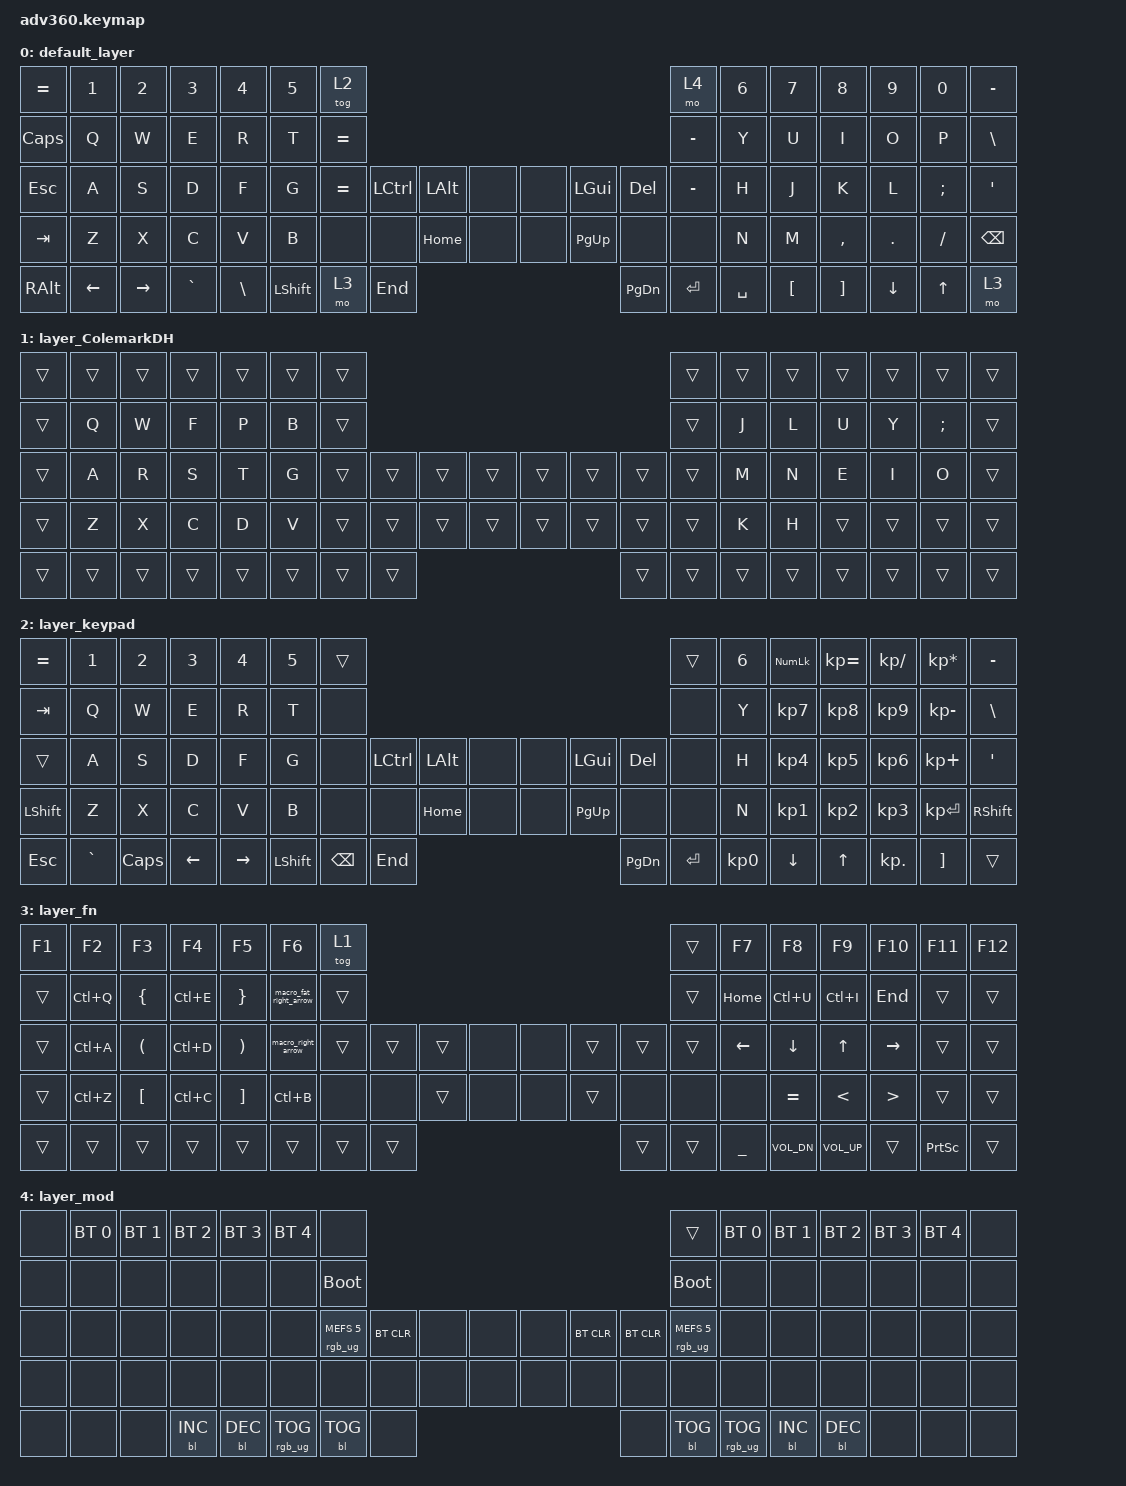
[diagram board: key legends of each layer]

/*
 * Copyright (c) 2020 The ZMK Contributors
 *
 * SPDX-License-Identifier: MIT
 */


/* THIS FILE WAS GENERATED!
 *
 * This file was generated automatically. You may or may not want to
 * edit it directly.
 */

#include <behaviors.dtsi>
#include <dt-bindings/zmk/keys.h>
#include <dt-bindings/zmk/bt.h>
#include <dt-bindings/zmk/rgb.h>
#include <dt-bindings/zmk/backlight.h>

/ {
  behaviors {
    #include "macros.dtsi"
    #include "version.dtsi"

    hm: homerow_mods {
        compatible = "zmk,behavior-hold-tap";
        label = "HOMEROW_MODS";
        #binding-cells = <2>;
        tapping-term-ms = <200>;
        quick_tap_ms = <175>;
        flavor = "tap-preferred";
        bindings = <&kp>, <&kp>;
    };
  };

    keymap {
        compatible = "zmk,keymap";


        default_layer {
            bindings = <
 &kp EQUAL    &kp N1     &kp N2     &kp N3    &kp N4  &kp N5               &tog 2                                                                 &mo 4  &kp N6    &kp N7     &kp N8    &kp N9    &kp N0  &kp MINUS
  &kp CAPS     &kp Q      &kp W      &kp E     &kp R   &kp T            &kp EQUAL                                                             &kp MINUS   &kp Y     &kp U      &kp I     &kp O     &kp P   &kp BSLH
   &kp ESC     &kp A      &kp S      &kp D     &kp F   &kp G            &kp EQUAL  &kp LCTRL  &kp LALT   &none   &none   &kp LGUI    &kp DEL  &kp MINUS   &kp H     &kp J      &kp K     &kp L  &kp SEMI    &kp SQT
   &kp TAB     &kp Z      &kp X      &kp C     &kp V   &kp B                &none      &none  &kp HOME   &none   &none  &kp PG_UP      &none      &none   &kp N     &kp M  &kp COMMA   &kp DOT  &kp FSLH   &kp BSPC
  &kp RALT  &kp LEFT  &kp RIGHT  &kp GRAVE  &kp BSLH                    &kp LSHFT      &mo 3   &kp END                  &kp PG_DN  &kp ENTER  &kp SPACE          &kp LBKT   &kp RBKT  &kp DOWN    &kp UP      &mo 3
            >;
        };

        layer_ColemarkDH {
            bindings = <
 &trans  &trans  &trans  &trans  &trans  &trans            &trans                                                  &trans  &trans  &trans  &trans  &trans    &trans  &trans
 &trans   &kp Q   &kp W   &kp F   &kp P   &kp B            &trans                                                  &trans   &kp J   &kp L   &kp U   &kp Y  &kp SEMI  &trans
 &trans   &kp A   &kp R   &kp S   &kp T   &kp G            &trans  &trans  &trans  &trans  &trans  &trans  &trans  &trans   &kp M   &kp N   &kp E   &kp I     &kp O  &trans
 &trans   &kp Z   &kp X   &kp C   &kp D   &kp V            &trans  &trans  &trans  &trans  &trans  &trans  &trans  &trans   &kp K   &kp H  &trans  &trans    &trans  &trans
 &trans  &trans  &trans  &trans  &trans                    &trans  &trans  &trans                  &trans  &trans  &trans          &trans  &trans  &trans    &trans  &trans
            >;
        };

        layer_keypad {
            bindings = <
 &kp EQUAL     &kp N1    &kp N2    &kp N3     &kp N4  &kp N5               &trans                                                                &trans  &kp N6  &kp KP_NUM  &kp KP_EQUAL  &kp KP_DIVIDE  &kp KP_MULTIPLY  &kp MINUS
   &kp TAB      &kp Q     &kp W     &kp E      &kp R   &kp T                &none                                                                 &none   &kp Y   &kp KP_N7     &kp KP_N8      &kp KP_N9     &kp KP_MINUS   &kp BSLH
    &trans      &kp A     &kp S     &kp D      &kp F   &kp G                &none  &kp LCTRL  &kp LALT   &none   &none   &kp LGUI    &kp DEL      &none   &kp H   &kp KP_N4     &kp KP_N5      &kp KP_N6      &kp KP_PLUS    &kp SQT
 &kp LSHFT      &kp Z     &kp X     &kp C      &kp V   &kp B                &none      &none  &kp HOME   &none   &none  &kp PG_UP      &none      &none   &kp N   &kp KP_N1     &kp KP_N2      &kp KP_N3     &kp KP_ENTER  &kp RSHFT
   &kp ESC  &kp GRAVE  &kp CAPS  &kp LEFT  &kp RIGHT                    &kp LSHFT   &kp BSPC   &kp END                  &kp PG_DN  &kp ENTER  &kp KP_N0            &kp DOWN        &kp UP     &kp KP_DOT         &kp RBKT     &trans
            >;
        };

        layer_fn {
            bindings = <
 &kp F1     &kp F2            &kp F3     &kp F4             &kp F5                  &kp F6            &tog 1                                                          &trans    &kp F7        &kp F8        &kp F9    &kp F10          &kp F11  &kp F12
 &trans  &kp LC(Q)    &kp LEFT_BRACE  &kp LC(E)    &kp RIGHT_BRACE  &macro_fat_right_arrow            &trans                                                          &trans  &kp HOME     &kp LC(U)     &kp LC(I)    &kp END           &trans   &trans
 &trans  &kp LC(A)          &kp LPAR  &kp LC(D)           &kp RPAR      &macro_right_arrow            &trans  &trans  &trans   &none   &none  &trans  &trans          &trans  &kp LEFT      &kp DOWN        &kp UP  &kp RIGHT           &trans   &trans
 &trans  &kp LC(Z)  &kp LEFT_BRACKET  &kp LC(C)  &kp RIGHT_BRACKET               &kp LC(B)             &none   &none  &trans   &none   &none  &trans   &none           &none     &none     &kp EQUAL        &kp LT     &kp GT           &trans   &trans
 &trans     &trans            &trans     &trans             &trans                                    &trans  &trans  &trans                  &trans  &trans  &kp UNDERSCORE            &kp C_VOL_DN  &kp C_VOL_UP     &trans  &kp PRINTSCREEN   &trans
            >;
        };

        layer_mod {
            bindings = <
  &none  &bt BT_SEL 0  &bt BT_SEL 1  &bt BT_SEL 2  &bt BT_SEL 3  &bt BT_SEL 4                             &none                                                                              &trans  &bt BT_SEL 0  &bt BT_SEL 1  &bt BT_SEL 2  &bt BT_SEL 3  &bt BT_SEL 4   &none
  &none         &none         &none         &none         &none         &none                       &bootloader                                                                         &bootloader         &none         &none         &none         &none         &none   &none
  &none         &none         &none         &none         &none         &none            &rgb_ug RGB_MEFS_CMD 5  &bt BT_CLR   &none   &none   &none  &bt BT_CLR  &bt BT_CLR  &rgb_ug RGB_MEFS_CMD 5         &none         &none         &none         &none         &none   &none
  &none         &none         &none         &none         &none         &none                             &none       &none   &none   &none   &none       &none       &none                   &none         &none         &none         &none         &none         &none   &none
  &none         &none         &none    &bl BL_INC    &bl BL_DEC                                 &rgb_ug RGB_TOG  &bl BL_TOG   &none                       &none  &bl BL_TOG         &rgb_ug RGB_TOG                  &bl BL_INC    &bl BL_DEC         &none         &none   &none
            >;
        };

    };
};
